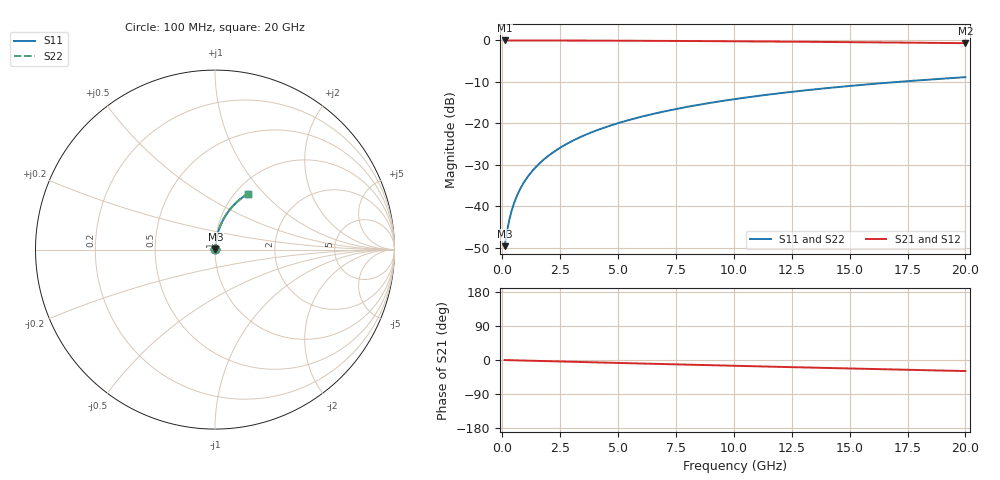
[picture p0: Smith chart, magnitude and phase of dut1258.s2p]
! Touchstone file exported from HFSS 2026.1.0
!  File:  C:/ffzhzh/LocalFiles/Ansys_Project_Files/temp_train_TMRDL_1258_1783163929_51560.aedt
!  Generated:  07:20:08 PM Jul  4, 2026
!  Design:  TMRDL
!  Project:  temp_train_TMRDL_1258_1783163929_51560
! Variables:
!  h_bsmrdl = 2um
!  h_ox = 20um
!  h_rdl = 5um
!  h_sub = 80um
!  h_tmrdl = 3.49um
!  h_tsv = 80um
!  h_via = 3um
!  l_bsmrdl = 300um
!  l_sub = 725.97um
!  l_tmrdl = 325.97um
!  m_sub = 200um
!  pitch = 55.96um
!  r_tsv = 6um
!  s_tmrdl = 10um
!  w_bsmrdl = 18um
!  w_sub = 500um
!  w_tmrdl = 13.77um
!  x_tsv_center1 = 332.855um
!  x_tsv_center2 = 650.855um
!  x_tsv_center3 = 990.595um
!  x_tsv_center4 = 1308.595um
!  x_tsv_center5 = 1648.335um
!  x_tsv_center6 = 1966.335um
# GHz S MA R 50.000000
! Terminal data exported
! Port[1] = TM_RDL1_1_T1
! Port[2] = TM_RDL1_1_T2
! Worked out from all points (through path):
!   200 points, 100 MHz to 20 GHz, reference 50 ohm
!   highest |S21| = -0.02 dB at 100 MHz (marker M1); lowest = -0.7 dB at 20 GHz (marker M2)
!   group delay of S21, straight-line fit = 4.06 ps
!   lowest |S11| = -49.6 dB at 100 MHz (marker M3), VSWR 1.01, Z = 50.3 + j0.211 ohm
!   |S11| at or under -10 dB: start of sweep to 17.12 GHz
!   |S22| runs from -49.6 to -8.9 dB; largest |S21 - S12| = 3.2e-15
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0.1  0.003302 39.5  0.9975 -0.2  0.9975 -0.2  0.003302 39.5
! Gamma 0 0 0 0
! Port Impedance 50 0 50 0
0.2  0.004932 58.2  0.9974 -0.3  0.9974 -0.3  0.004932 58.2
0.3  0.006808 66.8  0.9973 -0.5  0.9973 -0.5  0.006808 66.8
0.4  0.008756 71.5  0.9973 -0.6  0.9973 -0.6  0.008756 71.5
0.5  0.01073 74.4  0.9972 -0.8  0.9972 -0.8  0.01073 74.4
0.6  0.01271 76.4  0.9971 -1.0  0.9971 -1.0  0.01271 76.4
0.8  0.0167 78.9  0.997 -1.3  0.997 -1.3  0.0167 78.9
1.1  0.02269 80.8  0.9968 -1.7  0.9968 -1.7  0.02269 80.8
1.5  0.03072 82.0  0.9965 -2.4  0.9965 -2.4  0.03072 82.0
1.8  0.03674 82.4  0.9962 -2.8  0.9962 -2.8  0.03674 82.4
2.1  0.04277 82.5  0.9959 -3.3  0.9959 -3.3  0.04277 82.5
2.7  0.0548 82.3  0.9952 -4.2  0.9952 -4.2  0.05481 82.3
3.5  0.07079 81.7  0.994 -5.5  0.994 -5.5  0.07079 81.7
4.2  0.08468 80.9  0.9927 -6.5  0.9927 -6.5  0.08468 80.9
5  0.1004 79.9  0.9909 -7.8  0.9909 -7.8  0.1004 79.9
5.9  0.118 78.8  0.9887 -9.1  0.9887 -9.1  0.118 78.7
6.8  0.1353 77.5  0.9861 -10.5  0.9861 -10.5  0.1353 77.5
8.3  0.1637 75.4  0.9812 -12.7  0.9812 -12.7  0.1637 75.4
10.1  0.1969 72.9  0.9745 -15.4  0.9745 -15.4  0.1969 72.9
13.4  0.2551 68.3  0.96 -20.2  0.96 -20.2  0.2551 68.3
16.7  0.3095 63.8  0.9433 -24.7  0.9433 -24.7  0.3095 63.8
20  0.3599 59.5  0.9248 -29.2  0.9248 -29.2  0.3599 59.5
